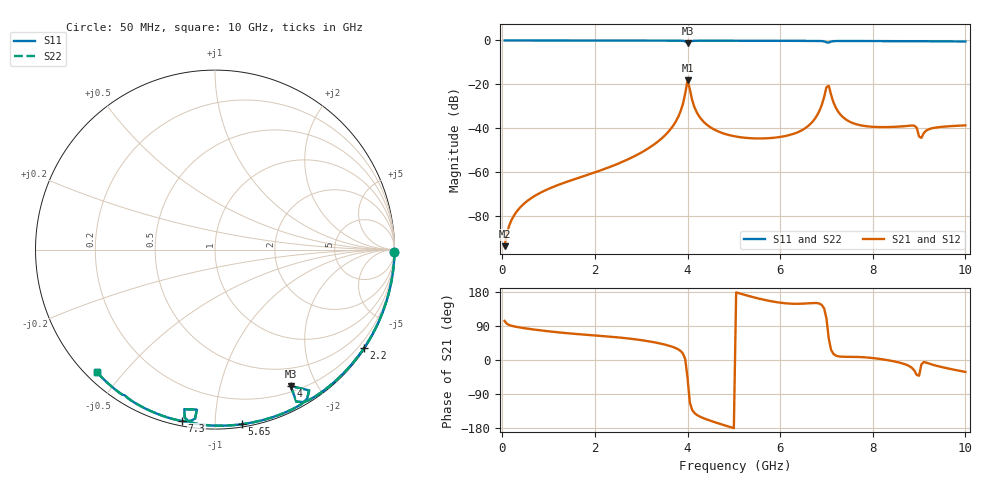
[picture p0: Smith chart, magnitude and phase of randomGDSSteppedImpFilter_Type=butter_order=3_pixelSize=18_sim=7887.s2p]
! freq	dB(S11)	phase(S11)	dB(S12)	phase(S12)
!  dB(S21)	phase(S21)	dB(S22)	phase(S22)
!S-par simulation data
#  GHz  S  DB  R 50
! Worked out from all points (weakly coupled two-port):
!   200 points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, 50 MHz to 10 GHz, reference 50 ohm
!   highest |S21| = -18.19 dB at 4 GHz (marker M1); lowest = -93.5 dB at 50 MHz (marker M2)
!   lowest |S11| = -1.2 dB at 4 GHz (marker M3), VSWR 14.32, Z = 13.4 - j83.3 ohm
!   |S11| at or under -10 dB: nowhere
!   |S22| runs from -1.2 to 0.0 dB; largest |S21 - S12| = 0
!   S11 on the Smith chart (normalised r, x): 50 MHz: open; 2.2 GHz: 0.03, -3.33; 4 GHz: 0.27, -1.67; 5.65 GHz: 0.02, -1.16; 7.3 GHz: 0.02, -0.83; 10 GHz: 0.03, -0.43
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0.05  -0.00 -0.8  -93.51 103.1  -93.51 103.1  -0.00 -0.8
0.85  -0.01 -13.1  -68.93 77.8  -68.93 77.8  -0.01 -13.1
1.75  -0.03 -26.7  -61.72 67.1  -61.72 67.1  -0.03 -26.7
2.2  -0.04 -33.5  -58.46 62.8  -58.46 62.8  -0.04 -33.5
3.4  -0.07 -51.1  -45.29 43.8  -45.29 43.8  -0.07 -51.1
3.8  -0.10 -57.6  -34.69 28.1  -34.69 28.1  -0.10 -57.6
3.9  -0.17 -59.9  -28.88 17.1  -28.88 17.1  -0.17 -59.9
4  -1.22 -61.0  -18.19 -47.1  -18.19 -47.1  -1.21 -61.0
4.15  -0.15 -59.6  -30.37 -139.9  -30.37 -139.9  -0.15 -59.6
4.3  -0.11 -62.5  -35.86 -151.3  -35.86 -151.3  -0.11 -62.5
5.05  -0.12 -73.3  -43.69 178.4  -43.69 178.4  -0.12 -73.3
5.65  -0.14 -81.3  -44.52 159.0  -44.52 159.0  -0.14 -81.3
6.3  -0.17 -89.8  -42.38 148.3  -42.38 148.3  -0.17 -89.8
6.7  -0.20 -95.3  -36.91 150.4  -36.91 150.4  -0.20 -95.3
7.05  -0.94 -96.5  -20.61 56.6  -20.61 56.6  -0.94 -96.5
7.3  -0.24 -100.9  -33.66 9.0  -33.66 9.0  -0.24 -100.9
7.7  -0.25 -106.3  -38.40 7.9  -38.40 7.9  -0.25 -106.3
8.35  -0.30 -114.3  -39.35 -1.0  -39.35 -1.0  -0.30 -114.3
8.9  -0.38 -121.0  -38.75 -28.3  -38.75 -28.3  -0.38 -121.0
9.05  -0.37 -122.4  -44.27 -11.8  -44.27 -11.8  -0.37 -122.4
9.25  -0.37 -124.9  -40.08 -10.8  -40.08 -10.8  -0.37 -124.9
10  -0.46 -133.9  -38.60 -31.5  -38.60 -31.5  -0.46 -133.9
